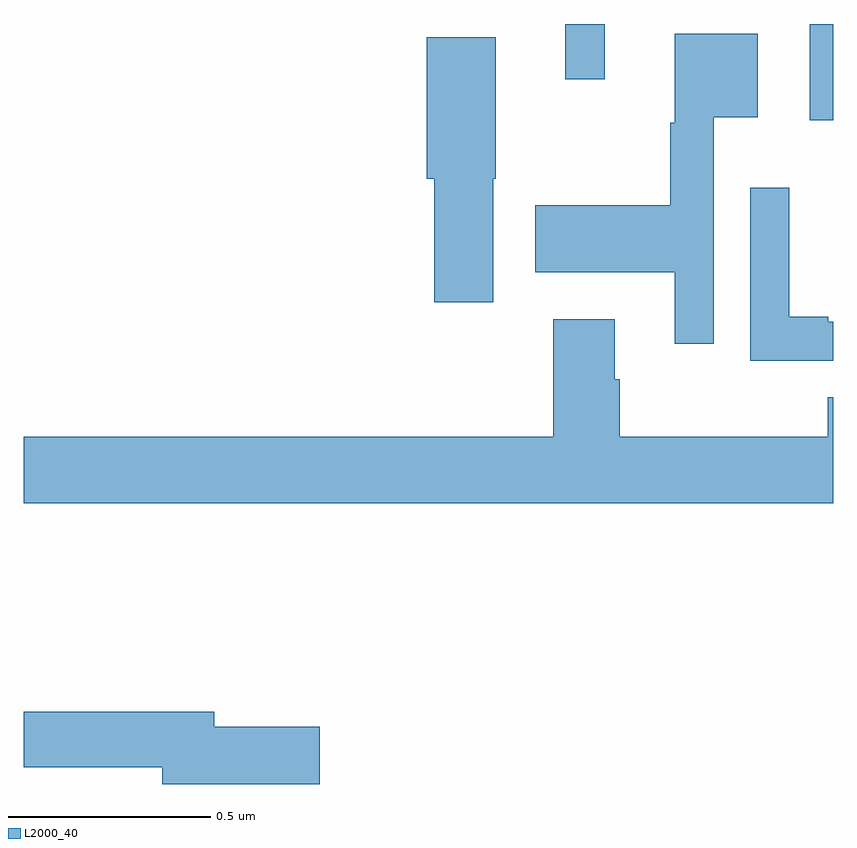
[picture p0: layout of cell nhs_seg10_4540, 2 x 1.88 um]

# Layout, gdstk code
import gdstk
lib = gdstk.Library(unit=1e-6, precision=1e-09)
def R(c, l, rs):  # rectangles x0, y0, x1, y1
    for r in rs: c.add(gdstk.rectangle(r[:2], r[2:], *l))
def P(c, l, *ps):  # polygons
    for p in ps: c.add(gdstk.Polygon(p, *l))
L2000_40 = (2000, 40)

nhs_seg10_4540 = lib.new_cell('nhs_seg10_4540')
R(nhs_seg10_4540, L2000_40, [(168.942,1301.262,169,1301.5), (168.338,1301.364,168.436,1301.5)])
P(nhs_seg10_4540, L2000_40, [(168.705,1301.27),(168.814,1301.27),(168.814,1301.476),(168.608,1301.476),(168.608,1301.256),(168.597,1301.256),(168.597,1301.052),(168.264,1301.052),(168.264,1300.886),(168.608,1300.886),(168.608,1300.71),(168.705,1300.71)],
  [(168.16,1301.118),(168.166,1301.118),(168.166,1301.467),(167.996,1301.467),(167.996,1301.118),(168.014,1301.118),(168.014,1300.812),(168.16,1300.812)],
  [(169,1300.764),(168.988,1300.764),(168.988,1300.777),(168.892,1300.777),(168.892,1301.095),(168.795,1301.095),(168.795,1300.668),(169,1300.668)],
  [(169,1300.578),(168.986,1300.578),(168.986,1300.48),(168.473,1300.48),(168.473,1300.622),(168.46,1300.622),(168.46,1300.771),(168.308,1300.771),(168.308,1300.48),(167,1300.48),(167,1300.316),(169,1300.316)],
  [(167.731,1299.764),(167.47,1299.764),(167.47,1299.8),(167,1299.8),(167,1299.664),(167.342,1299.664),(167.342,1299.622),(167.731,1299.622)])

lib.write_gds('nhs_seg10_4540.gds')
